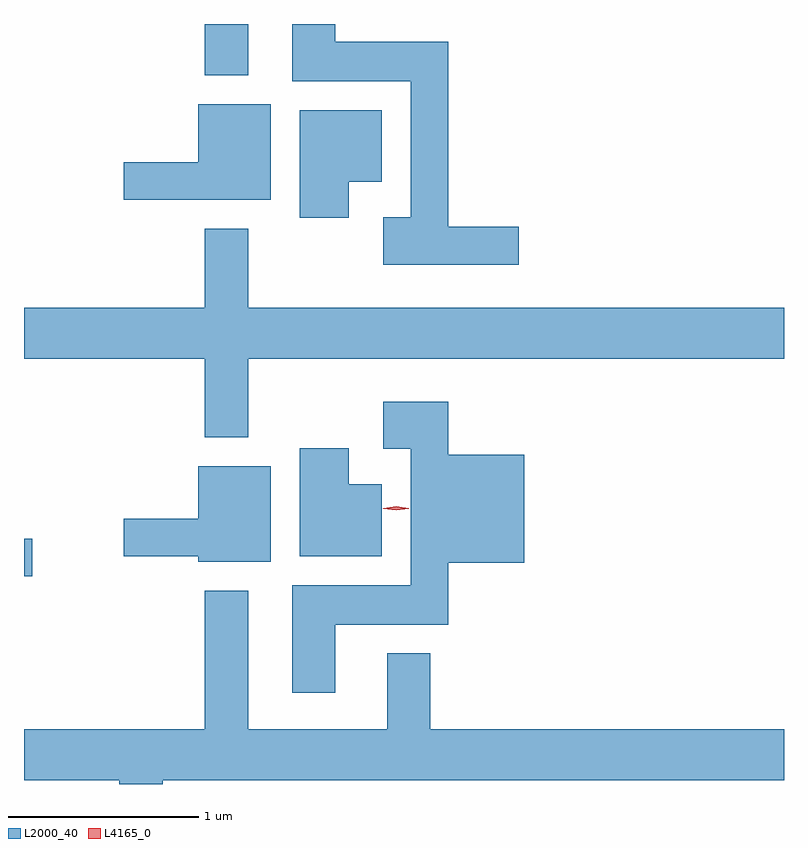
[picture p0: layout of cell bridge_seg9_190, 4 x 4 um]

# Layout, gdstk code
import gdstk
lib = gdstk.Library(unit=1e-6, precision=1e-09)
def R(c, l, rs):  # rectangles x0, y0, x1, y1
    for r in rs: c.add(gdstk.rectangle(r[:2], r[2:], *l))
def P(c, l, *ps):  # polygons
    for p in ps: c.add(gdstk.Polygon(p, *l))
L2000_40 = (2000, 40)
L4165_0 = (4165, 0)

bridge_seg9_190 = lib.new_cell('bridge_seg9_190')
R(bridge_seg9_190, L2000_40, [(1221.14,1995.111,1221.184,1995.309), (1222.091,1997.746,1222.319,1998.017)])
P(bridge_seg9_190, L2000_40, [(1223.744,1996.949),(1223.374,1996.949),(1223.374,1997.924),(1222.779,1997.924),(1222.779,1998.017),(1222.551,1998.017),(1222.551,1997.716),(1223.176,1997.716),(1223.176,1996.999),(1223.031,1996.999),(1223.031,1996.751),(1223.744,1996.751)],
  [(1222.439,1997.594),(1222.056,1997.594),(1222.056,1997.289),(1221.666,1997.289),(1221.666,1997.091),(1222.439,1997.091)],
  [(1222.849,1997.186),(1223.024,1997.186),(1223.024,1997.564),(1222.591,1997.564),(1222.591,1996.996),(1222.849,1996.996)],
  [(1222.319,1996.256),(1225.14,1996.256),(1225.14,1996.524),(1222.319,1996.524),(1222.319,1996.939),(1222.091,1996.939),(1222.091,1996.524),(1221.14,1996.524),(1221.14,1996.256),(1222.091,1996.256),(1222.091,1995.841),(1222.319,1995.841)],
  [(1222.779,1994.856),(1223.374,1994.856),(1223.374,1995.181),(1223.774,1995.181),(1223.774,1995.749),(1223.374,1995.749),(1223.374,1996.029),(1223.031,1996.029),(1223.031,1995.781),(1223.176,1995.781),(1223.176,1995.064),(1222.551,1995.064),(1222.551,1994.496),(1222.779,1994.496)],
  [(1223.024,1995.594),(1222.849,1995.594),(1222.849,1995.784),(1222.591,1995.784),(1222.591,1995.216),(1223.024,1995.216)],
  [(1222.439,1995.689),(1222.056,1995.689),(1222.056,1995.414),(1221.666,1995.414),(1221.666,1995.216),(1222.056,1995.216),(1222.056,1995.186),(1222.439,1995.186)],
  [(1221.869,1994.036),(1225.14,1994.036),(1225.14,1994.304),(1223.279,1994.304),(1223.279,1994.704),(1223.051,1994.704),(1223.051,1994.304),(1222.319,1994.304),(1222.319,1995.034),(1222.091,1995.034),(1222.091,1994.304),(1221.14,1994.304),(1221.14,1994.036),(1221.641,1994.036),(1221.641,1994.017),(1221.869,1994.017)])
P(bridge_seg9_190, L4165_0, [(1223.098,1995.458),(1223.032,1995.467),(1223.032,1995.468),(1223.032,1995.468),(1223.098,1995.478),(1223.164,1995.468),(1223.164,1995.468),(1223.164,1995.467)])

lib.write_gds('bridge_seg9_190.gds')
